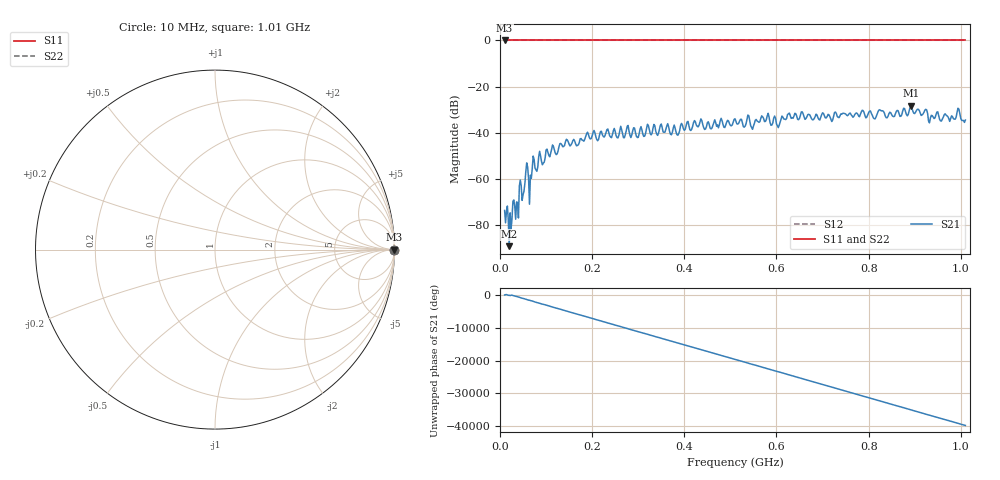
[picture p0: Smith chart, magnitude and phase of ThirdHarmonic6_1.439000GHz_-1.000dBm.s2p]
! 8/16/2025 4:38:06 PM
! C:\ANRITSUVNA\TEMP\TEMP.S2P
! CHANNEL.1
! TR.MEASUREMENT
! RAW.DATA
! RF.CORRECTION.OFF
! AVERAGING.OFF
! IF.BANDWIDTH: 5KHZ
! SWEEPTYPE:  FREQ.SWEEP(Linear)
! Reference Plane Port Info
! PORT:  PORT1  PORT2
! DISTANCE:  0  m  0  m
! TIME:  0  s  0  s
! PHASE.OFFSET:  0  deg.  0  deg.
! LOSS:  0  dB  0  dB
! REF.LOSS:  0  dB  0  dB
! REF.FREQ:  0  Hz  0  Hz
! Power Info
! POWER:  -20  dBm  -20  dBm
! EFF.POWER:  -20  dBm  -20  dBm
! SOURCE.ATTEN:  0  dB  0  dB
! TEST.ATTEN:  0  dB  0  dB
# GHZ S RI R 50.0
! FREQ.GHZ  S11RE  S11IM  S21RE  S21IM  S12RE  S12IM  S22RE  S22IM
!; PortSelection: Port_12
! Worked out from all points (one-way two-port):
!   501 points, 10 MHz to 1.01 GHz, reference 50 ohm
!   highest |S21| = -28.27 dB at 892 MHz (marker M1); lowest = -89.0 dB at 20 MHz (marker M2)
!   lowest |S11| = 0.0 dB at 10 MHz (marker M3)
!   |S11| at or under -10 dB: nowhere
!   |S22| runs from 0.0 to 0.0 dB; largest |S21 - S12| = 1
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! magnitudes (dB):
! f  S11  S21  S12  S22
! 10 MHz  0.0  -73.5  0.0  0.0
! 20 MHz  0.0  -89.0  0.0  0.0
! 32 MHz  0.0  -71.8  0.0  0.0
! 36 MHz  0.0  -69.9  0.0  0.0
! 58 MHz  0.0  -53.0  0.0  0.0
! 66 MHz  0.0  -58.3  0.0  0.0
! 70 MHz  0.0  -55.4  0.0  0.0
! 86 MHz  0.0  -48.0  0.0  0.0
! 178 MHz  0.0  -43.1  0.0  0.0
! 344 MHz  0.0  -40.2  0.0  0.0
! 510 MHz  0.0  -33.9  0.0  0.0
! 538 MHz  0.0  -32.3  0.0  0.0
! 548 MHz  0.0  -38.4  0.0  0.0
! 580 MHz  0.0  -32.6  0.0  0.0
! 604 MHz  0.0  -37.7  0.0  0.0
! 626 MHz  0.0  -31.7  0.0  0.0
! 678 MHz  0.0  -34.3  0.0  0.0
! 844 MHz  0.0  -31.7  0.0  0.0
! 892 MHz  0.0  -28.3  0.0  0.0
! 958 MHz  0.0  -34.9  0.0  0.0
! 994 MHz  0.0  -29.3  0.0  0.0
! 1.01 GHz  0.0  -34.4  0.0  0.0
